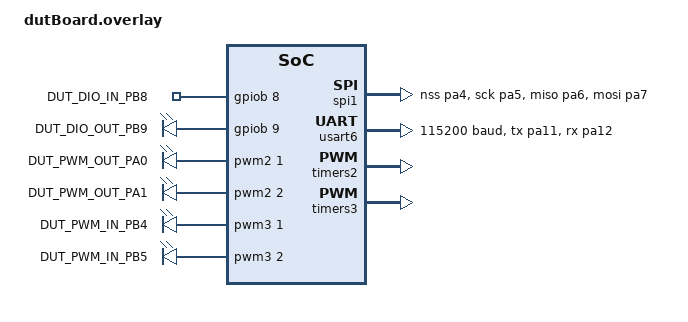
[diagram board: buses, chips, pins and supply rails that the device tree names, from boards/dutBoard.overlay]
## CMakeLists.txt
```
cmake_minimum_required(VERSION 3.20.0)

find_package(Zephyr REQUIRED HINTS $ENV{ZEPHYR_BASE})

project(dut_firmware)

target_include_directories(app PRIVATE include)

target_sources(app PRIVATE
    src/main.c
    src/dut_dio.c
    src/dut_spi.c
    src/dut_uart.c
    src/dut_pwm_out.c
    src/dut_pwm_in.c
)
```

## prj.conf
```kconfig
CONFIG_GPIO=y
CONFIG_SPI=y

CONFIG_SERIAL=y
CONFIG_UART_CONSOLE=y
CONFIG_PRINTK=y

CONFIG_PWM=y
CONFIG_PWM_CAPTURE=y
```

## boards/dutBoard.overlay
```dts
#include <zephyr/dt-bindings/gpio/gpio.h>
#include <zephyr/dt-bindings/pwm/pwm.h>

/ {
    aliases {
        dut-dio-in = &dut_dio_in_pin;
        dut-dio-out = &dut_dio_out_pin;
        uart-test = &usart2;
        uart-test = &usart6;
        dut-pwmout1 = &dut_pwm_out_1;
        dut-pwmout2 = &dut_pwm_out_2;
        dut-pwmin1 = &dut_pwm_in_1;
        dut-pwmin2 = &dut_pwm_in_2;
    };

    dut_dio_inputs {
        compatible = "gpio-keys";

        dut_dio_in_pin: dut_dio_in_pin {
            gpios = <&gpiob 8 (GPIO_ACTIVE_HIGH | GPIO_PULL_DOWN)>;
            label = "DUT_DIO_IN_PB8";
        };
    };

    dut_dio_outputs {
        compatible = "gpio-leds";

        dut_dio_out_pin: dut_dio_out_pin {
            gpios = <&gpiob 9 GPIO_ACTIVE_HIGH>;
            label = "DUT_DIO_OUT_PB9";
        };
    };

    dut_pwm_outputs {
        compatible = "pwm-leds";

        dut_pwm_out_1: dut_pwm_out_1 {
            pwms = <&pwm2 1 0 PWM_POLARITY_NORMAL>;
            label = "DUT_PWM_OUT_PA0";
        };

        dut_pwm_out_2: dut_pwm_out_2 {
            pwms = <&pwm2 2 0 PWM_POLARITY_NORMAL>;
            label = "DUT_PWM_OUT_PA1";
        };
    };

    dut_pwm_inputs {
        compatible = "pwm-leds";

        dut_pwm_in_1: dut_pwm_in_1 {
            pwms = <&pwm3 1 0 PWM_POLARITY_NORMAL>;
            label = "DUT_PWM_IN_PB4";
        };

        dut_pwm_in_2: dut_pwm_in_2 {
            pwms = <&pwm3 2 0 PWM_POLARITY_NORMAL>;
            label = "DUT_PWM_IN_PB5";
        };
    };
};

&spi1 {
    status = "okay";
    pinctrl-0 = <&spi1_nss_pa4 &spi1_sck_pa5 &spi1_miso_pa6 &spi1_mosi_pa7>;
    pinctrl-names = "default";
};

&usart6 {
    status = "okay";
    current-speed = <115200>;
    pinctrl-0 = <&usart6_tx_pa11 &usart6_rx_pa12>;
    pinctrl-names = "default";
};


&timers2 {
    status = "okay";

    pwm2: pwm {
        status = "okay";
        pinctrl-0 = <&tim2_ch1_pa0 &tim2_ch2_pa1>;
        pinctrl-names = "default";
    };
};

&timers3 {
    status = "okay";
    st,prescaler = <83>; /* Divide 84MHz by 84 to get 1MHz timer clock */

    pwm3: pwm {
        status = "okay";
        pinctrl-0 = <&tim3_ch1_pb4 &tim3_ch2_pb5>;
        pinctrl-names = "default";
    };
};
```

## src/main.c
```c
#include <zephyr/kernel.h>              /* Include Zephyr kernel APIs */
#include <zephyr/sys/printk.h>          /* Include printk for debug messages */

#include "dut_dio.h"                    /* Include DUT DIO module interface */
#include "dut_spi.h"                    /* Include DUT SPI module interface */
#include "dut_uart.h"                   /* Include DUT UART module interface */
#include "dut_pwm_out.h"                /* Include DUT PWM output interface */
#include "dut_pwm_in.h"                 /* Include DUT PWM input interface */


/**
 * @brief Main entry point for DUT firmware.
 *
 * This firmware runs on Board 2 / DUT.
 *
 * It acts as:
 * - DIO mirror responder
 * - SPI slave responder
 * - UART echo responder
 *
 * @return 0 on success, negative error code on failure.
 */
int main(void)
{
    int ret;                                             /* Store return status */

    printk("DUT Firmware Started\n");                    /* Print firmware startup message */

    ret = dut_dio_Init();                                /* Initialize DUT DIO mirror */

    if (ret < 0) {                                       /* Check if DUT DIO initialization failed */
        printk("DUT DIO initialization failed: %d\n", ret);
        return ret;                                      /* Stop application with error */
    }

    printk("DUT DIO initialized\n");                     /* Print DIO success message */

    ret = dut_spi_Init();                                /* Initialize DUT SPI slave */

    if (ret < 0) {                                       /* Check if DUT SPI initialization failed */
        printk("DUT SPI initialization failed: %d\n", ret);
        return ret;                                      /* Stop application with error */
    }

    printk("DUT SPI initialized\n");                     /* Print SPI success message */

    ret = dut_uart_Init();                               /* Initialize DUT UART echo */

    if (ret < 0) {                                       /* Check if DUT UART initialization failed */
        printk("DUT UART initialization failed: %d\n", ret);
        return ret;                                      /* Stop application with error */
    }

    printk("DUT UART initialized\n");                    /* Print UART success message */

    ret = dut_pwm_out_Init();

    if (ret < 0) {
        printk("DUT PWM OUT initialization failed: %d\n", ret);
        return ret;
    }

    printk("DUT PWM OUT initialized\n");

    ret = dut_pwm_in_Init();

    if (ret < 0) {
        printk("DUT PWM IN initialization failed: %d\n", ret);
        return ret;
    }

    printk("DUT PWM IN initialized\n");

    while (1) {                                          /* Run forever */
        dut_dio_Process();                               /* Mirror DIO input to output */
        k_sleep(K_MSEC(1));                              /* Small delay to reduce CPU usage */
    }

    return 0;                                            /* This line should never be reached */
}
```

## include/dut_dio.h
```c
#ifndef DUT_DIO_H
#define DUT_DIO_H

/**
 * @brief Initialize DUT DIO mirror pins.
 *
 * This configures:
 * - PB8 as input
 * - PB9 as output
 *
 * @return 0 on success, negative error code on failure.
 */
int dut_dio_Init(void);

/**
 * @brief Process one DIO mirror cycle.
 *
 * This reads PB8 and writes the same value to PB9.
 */
void dut_dio_Process(void);

#endif
```

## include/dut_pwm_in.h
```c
#ifndef DUT_PWM_IN_H
#define DUT_PWM_IN_H

/**
 * @brief Initialize DUT PWM input capture module.
 *
 * DUT PWM inputs:
 * - PB4 = PWM input channel 1
 * - PB5 = PWM input channel 2
 *
 * @return 0 on success, negative error code on failure.
 */
int dut_pwm_in_Init(void);

#endif
```

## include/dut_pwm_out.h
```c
#ifndef DUT_PWM_OUT_H
#define DUT_PWM_OUT_H

/**
 * @brief Initialize DUT PWM output generator.
 *
 * DUT PWM outputs:
 * - PA0 = PWM output channel 1
 * - PA1 = PWM output channel 2
 *
 * @return 0 on success, negative error code on failure.
 */
int dut_pwm_out_Init(void);

#endif
```

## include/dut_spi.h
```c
#ifndef DUT_SPI_H
#define DUT_SPI_H

/**
 * @brief Initialize DUT SPI slave responder.
 *
 * This configures SPI1 as a slave responder.
 *
 * @return 0 on success, negative error code on failure.
 */
int dut_spi_Init(void);

#endif
```

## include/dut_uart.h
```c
#ifndef DUT_UART_H
#define DUT_UART_H

/**
 * @brief Initialize DUT UART echo module.
 *
 * This module uses USART6 as UART echo responder.
 *
 * Hardware pins:
 * - PA11 = USART6_TX
 * - PA12 = USART6_RX
 *
 * @return 0 on success, negative error code on failure.
 */
int dut_uart_Init(void);

#endif
```

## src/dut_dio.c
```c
#include <zephyr/kernel.h>              /* Include Zephyr kernel APIs */
#include <zephyr/device.h>              /* Include Zephyr device model APIs */
#include <zephyr/drivers/gpio.h>        /* Include Zephyr GPIO driver APIs */
#include <errno.h>                      /* Include standard error codes */

#include "dut_dio.h"                    /* Include DUT DIO module interface */


/* Get DUT DIO input alias from devicetree */
#define DUT_DIO_IN_NODE  DT_ALIAS(dut_dio_in)

/* Get DUT DIO output alias from devicetree */
#define DUT_DIO_OUT_NODE DT_ALIAS(dut_dio_out)


/* Create GPIO specification for PB8 input */
static const struct gpio_dt_spec dut_dio_in = GPIO_DT_SPEC_GET(DUT_DIO_IN_NODE, gpios);

/* Create GPIO specification for PB9 output */
static const struct gpio_dt_spec dut_dio_out = GPIO_DT_SPEC_GET(DUT_DIO_OUT_NODE, gpios);


/**
 * @brief Initialize DUT DIO mirror pins.
 *
 * Hardware connection:
 * - Board 1 PB8 -> Board 2 PB8
 * - Board 2 PB9 -> Board 1 PB9
 *
 * @return 0 on success, negative error code on failure.
 */
int dut_dio_Init(void)
{
    if (!gpio_is_ready_dt(&dut_dio_in)) {                         /* Check if input GPIO port is ready */
        return -ENODEV;                                           /* Return error if input GPIO port is not ready */
    }

    if (!gpio_is_ready_dt(&dut_dio_out)) {                        /* Check if output GPIO port is ready */
        return -ENODEV;                                           /* Return error if output GPIO port is not ready */
    }

    int ret = gpio_pin_configure_dt(&dut_dio_in, GPIO_INPUT);     /* Configure PB8 as input */

    if (ret < 0) {                                                /* Check if input configuration failed */
        return ret;                                               /* Return GPIO driver error */
    }

    ret = gpio_pin_configure_dt(&dut_dio_out, GPIO_OUTPUT_INACTIVE); /* Configure PB9 as output and start LOW */

    if (ret < 0) {                                                /* Check if output configuration failed */
        return ret;                                               /* Return GPIO driver error */
    }

    return 0;                                                     /* Return success */
}


/**
 * @brief Process one DIO mirror cycle.
 *
 * This function reads PB8 and writes the same value to PB9.
 */
void dut_dio_Process(void)
{
    int value = gpio_pin_get_dt(&dut_dio_in);                     /* Read PB8 input value */

    if (value < 0) {                                              /* Check if GPIO read failed */
        return;                                                   /* Ignore this cycle if read failed */
    }

    gpio_pin_set_dt(&dut_dio_out, value);                         /* Mirror PB8 value to PB9 */
}
```

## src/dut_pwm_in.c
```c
#include <zephyr/kernel.h>              /* Include Zephyr kernel APIs */
#include <zephyr/device.h>              /* Include Zephyr device APIs */
#include <zephyr/drivers/pwm.h>         /* Include Zephyr PWM APIs */
#include <zephyr/sys/printk.h>          /* Include printk for debug messages */

#include <errno.h>                      /* Include standard error codes */
#include <stdbool.h>                    /* Include bool type */
#include <stdint.h>                     /* Include integer types */

#include "dut_pwm_in.h"                 /* Include DUT PWM input interface */

/*

* DUT PWM input expected signals:
*
* CH1 expected signal:
* * Frequency: around 1000 Hz
* * Duty cycle: around 50%
*
* CH2 expected signal:
* * Frequency: around 1000 Hz
* * Duty cycle: around 25%
*
* These limits are used to ignore floating/noise readings.
  */
  #define DUT_PWM_MIN_FREQ_HZ        900U
  #define DUT_PWM_MAX_FREQ_HZ        1100U

#define DUT_PWM_CH1_MIN_DUTY_X100  4500U   /* 45.00% */
#define DUT_PWM_CH1_MAX_DUTY_X100  5500U   /* 55.00% */

#define DUT_PWM_CH2_MIN_DUTY_X100  2000U   /* 20.00% */
#define DUT_PWM_CH2_MAX_DUTY_X100  3000U   /* 30.00% */

/*

* Avoid printing the same valid value again and again.
*
* Frequency tolerance:
* * If the new frequency is very close to the last printed frequency,
* it is considered the same reading.
*
* Duty tolerance:
* * Duty is stored as duty * 100.
* * 20 means 0.20%.
    */
    #define DUT_PWM_FREQ_PRINT_DELTA_HZ    2U
    #define DUT_PWM_DUTY_PRINT_DELTA_X100  20U

/* Get DUT PWM input channel 1 from devicetree alias */
static const struct pwm_dt_spec dut_pwm_in_ch1 =
PWM_DT_SPEC_GET(DT_ALIAS(dut_pwmin1));

/* Get DUT PWM input channel 2 from devicetree alias */
static const struct pwm_dt_spec dut_pwm_in_ch2 =
PWM_DT_SPEC_GET(DT_ALIAS(dut_pwmin2));

/* Store the last printed frequency for each channel */
static uint32_t last_freq_hz[3] = {0U, 0U, 0U};

/* Store the last printed duty cycle for each channel */
static uint32_t last_duty_x100[3] = {0U, 0U, 0U};

/* Store whether each channel printed a valid value before */
static bool channel_printed_before[3] = {false, false, false};

/**

* @brief Calculate absolute difference between two unsigned values.
*
* @param a First value.
* @param b Second value.
*
* @return Absolute difference.
  */
  static uint32_t abs_diff_u32(uint32_t a, uint32_t b)
  {
  if (a > b) {                         /* Check if first value is larger */
  return a - b;                    /* Return positive difference */
  }

  return b - a;                        /* Return positive difference */
  }

/**

* @brief Check if captured PWM value is valid for a specific channel.
*
* @param channel_number Logical PWM input channel number.
* @param frequency_hz Captured frequency in Hz.
* @param duty_x100 Captured duty cycle multiplied by 100.
*
* @return true if the value is valid, false otherwise.
  */
  static bool dut_pwm_in_is_valid_reading(
  uint8_t channel_number,
  uint32_t frequency_hz,
  uint32_t duty_x100
  )
  {
  if (frequency_hz < DUT_PWM_MIN_FREQ_HZ) {             /* Reject low frequency noise */
  return false;
  }

  if (frequency_hz > DUT_PWM_MAX_FREQ_HZ) {             /* Reject high frequency noise */
  return false;
  }

  if (channel_number == 1U) {                           /* Validate channel 1 duty cycle */
  if (duty_x100 < DUT_PWM_CH1_MIN_DUTY_X100) {
  return false;
  }

   if (duty_x100 > DUT_PWM_CH1_MAX_DUTY_X100) {
       return false;
   }

   return true;

  }

  if (channel_number == 2U) {                           /* Validate channel 2 duty cycle */
  if (duty_x100 < DUT_PWM_CH2_MIN_DUTY_X100) {
  return false;
  }

   if (duty_x100 > DUT_PWM_CH2_MAX_DUTY_X100) {
       return false;
   }

   return true;

  }

  return false;                                         /* Reject invalid channel number */
  }

/**

* @brief Check if the reading is almost the same as the last printed reading.
*
* @param channel_number Logical PWM input channel number.
* @param frequency_hz Captured frequency in Hz.
* @param duty_x100 Captured duty cycle multiplied by 100.
*
* @return true if the reading is repeated, false otherwise.
  */
  static bool dut_pwm_in_is_repeated_reading(
  uint8_t channel_number,
  uint32_t frequency_hz,
  uint32_t duty_x100
  )
  {
  uint32_t freq_diff;                                    /* Store frequency difference */
  uint32_t duty_diff;                                    /* Store duty cycle difference */

  if (!channel_printed_before[channel_number]) {         /* First valid reading should be printed */
  return false;
  }

  freq_diff = abs_diff_u32(last_freq_hz[channel_number], frequency_hz);
  duty_diff = abs_diff_u32(last_duty_x100[channel_number], duty_x100);

  if ((freq_diff <= DUT_PWM_FREQ_PRINT_DELTA_HZ) &&
  (duty_diff <= DUT_PWM_DUTY_PRINT_DELTA_X100)) {
  return true;                                      /* Reading is close enough to the last one */
  }

  return false;                                         /* Reading changed enough to print */
  }

/**

* @brief Capture and print one PWM input channel.
*
* This function ignores invalid/noise readings.
*
* @param pwm_spec PWM device specification.
* @param channel_number Logical channel number.
  */
  static void dut_pwm_in_capture_and_print(
  const struct pwm_dt_spec *pwm_spec,
  uint8_t channel_number
  )
  {
  uint64_t period_us = 0U;                              /* Store captured period in microseconds */
  uint64_t pulse_us = 0U;                               /* Store captured pulse width in microseconds */
  uint32_t frequency_hz = 0U;                           /* Store calculated frequency */
  uint32_t duty_x100 = 0U;                              /* Store duty cycle multiplied by 100 */
  int ret;                                             /* Store return value */

  ret = pwm_capture_usec(
  pwm_spec->dev,                                   /* PWM device */
  pwm_spec->channel,                               /* PWM channel */
  PWM_CAPTURE_TYPE_BOTH | PWM_CAPTURE_MODE_SINGLE, /* Capture period and pulse once */
  &period_us,                                      /* Output period */
  &pulse_us,                                       /* Output pulse width */
  K_MSEC(500)                                      /* Capture timeout */
  );

  if (ret == -EBUSY) {                                 /* Check if PWM capture channel is busy */
  pwm_disable_capture(pwm_spec->dev, pwm_spec->channel);
  return;                                          /* Keep silent */
  }

  if (ret < 0) {                                       /* No valid PWM signal */
  return;                                          /* Keep silent */
  }

  pwm_disable_capture(pwm_spec->dev, pwm_spec->channel); /* Disable capture after one reading */

  if (period_us == 0U) {                               /* Protect against division by zero */
  return;                                          /* Keep silent */
  }

  frequency_hz = (uint32_t)(1000000ULL / period_us);    /* Convert period in us to Hz */

  duty_x100 = (uint32_t)((pulse_us * 10000ULL) / period_us); /* Calculate duty * 100 */

  if (!dut_pwm_in_is_valid_reading(channel_number, frequency_hz, duty_x100)) {
  return;                                          /* Ignore noise or unexpected signal */
  }

  if (dut_pwm_in_is_repeated_reading(channel_number, frequency_hz, duty_x100)) {
  return;                                          /* Avoid printing repeated stable values */
  }

  last_freq_hz[channel_number] = frequency_hz;          /* Save last printed frequency */
  last_duty_x100[channel_number] = duty_x100;           /* Save last printed duty */
  channel_printed_before[channel_number] = true;        /* Mark channel as printed before */

  printk(
  "DUT_PWM_IN CH%d Freq: %u Hz, Duty: %u.%02u\n",
  channel_number,
  frequency_hz,
  duty_x100 / 100U,
  duty_x100 % 100U
  );
  }

/**

* @brief DUT PWM input monitor thread.
*
* This thread measures PWM input channels periodically.
* It prints only valid and useful readings.
  */
  static void dut_pwm_in_thread(void *arg1, void *arg2, void *arg3)
  {
  ARG_UNUSED(arg1);                                     /* Mark arg1 as unused */
  ARG_UNUSED(arg2);                                     /* Mark arg2 as unused */
  ARG_UNUSED(arg3);                                     /* Mark arg3 as unused */

  printk("DUT PWM IN monitor thread started\n");        /* Print thread start message */

  while (1) {                                           /* Run forever */
  dut_pwm_in_capture_and_print(&dut_pwm_in_ch1, 1U); /* Capture PWM input channel 1 */
  dut_pwm_in_capture_and_print(&dut_pwm_in_ch2, 2U); /* Capture PWM input channel 2 */

   k_sleep(K_SECONDS(1));                            /* Wait before next measurement */

  }
  }

/* Define DUT PWM input monitor thread */
K_THREAD_DEFINE(
dut_pwm_in_thread_id,                                 /* Thread ID */
1024,                                                 /* Stack size */
dut_pwm_in_thread,                                    /* Thread function */
NULL,                                                 /* First argument */
NULL,                                                 /* Second argument */
NULL,                                                 /* Third argument */
7,                                                    /* Thread priority */
0,                                                    /* Thread options */
0                                                     /* Start immediately */
);

/**

* @brief Initialize DUT PWM input capture module.
*
* @return 0 on success, negative error code on failure.
  */
  int dut_pwm_in_Init(void)
  {
  if (!pwm_is_ready_dt(&dut_pwm_in_ch1)) {              /* Check if PWM input channel 1 is ready */
  printk("DUT PWM IN CH1 device not ready\n");
  return -ENODEV;
  }

  if (!pwm_is_ready_dt(&dut_pwm_in_ch2)) {              /* Check if PWM input channel 2 is ready */
  printk("DUT PWM IN CH2 device not ready\n");
  return -ENODEV;
  }

  printk("DUT PWM IN initialized\n");                   /* Print initialization message */

  return 0;                                             /* Return success */
  }
```

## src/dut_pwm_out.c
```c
#include <zephyr/kernel.h>              /* Include Zephyr kernel APIs */
#include <zephyr/device.h>              /* Include Zephyr device APIs */
#include <zephyr/drivers/pwm.h>         /* Include Zephyr PWM driver APIs */
#include <zephyr/sys/printk.h>          /* Include printk for debug messages */
#include <errno.h>                      /* Include standard error codes */

#include "dut_pwm_out.h"                /* Include DUT PWM output interface */


/* Get PWM output channel 1 from devicetree alias */
static const struct pwm_dt_spec dut_pwm_ch1 = PWM_DT_SPEC_GET(DT_ALIAS(dut_pwmout1));

/* Get PWM output channel 2 from devicetree alias */
static const struct pwm_dt_spec dut_pwm_ch2 = PWM_DT_SPEC_GET(DT_ALIAS(dut_pwmout2));


/**
 * @brief Initialize DUT PWM output generator.
 *
 * Channel 1:
 * - Frequency = 1000 Hz
 * - Duty cycle = 50%
 *
 * Channel 2:
 * - Frequency = 1000 Hz
 * - Duty cycle = 25%
 *
 * @return 0 on success, negative error code on failure.
 */
int dut_pwm_out_Init(void)
{
    int ret;                                             /* Store return value */

    const uint32_t period_ns = 1000000U;                 /* 1 kHz period = 1 ms = 1,000,000 ns */

    const uint32_t ch1_pulse_ns = 500000U;               /* 50% duty cycle */
    const uint32_t ch2_pulse_ns = 250000U;               /* 25% duty cycle */

    if (!pwm_is_ready_dt(&dut_pwm_ch1)) {                /* Check if PWM channel 1 is ready */
        printk("DUT PWM CH1 device not ready\n");        /* Print error message */
        return -ENODEV;                                  /* Return device error */
    }

    if (!pwm_is_ready_dt(&dut_pwm_ch2)) {                /* Check if PWM channel 2 is ready */
        printk("DUT PWM CH2 device not ready\n");        /* Print error message */
        return -ENODEV;                                  /* Return device error */
    }

    ret = pwm_set_dt(&dut_pwm_ch1, period_ns, ch1_pulse_ns); /* Start PWM channel 1 */

    if (ret < 0) {                                       /* Check if channel 1 failed */
        printk("DUT PWM CH1 start failed: %d\n", ret);   /* Print error */
        return ret;                                      /* Return error */
    }

    ret = pwm_set_dt(&dut_pwm_ch2, period_ns, ch2_pulse_ns); /* Start PWM channel 2 */

    if (ret < 0) {                                       /* Check if channel 2 failed */
        printk("DUT PWM CH2 start failed: %d\n", ret);   /* Print error */
        return ret;                                      /* Return error */
    }

    printk("DUT PWM OUT started: CH1 1000Hz 50%%, CH2 1000Hz 25%%\n");

    return 0;                                            /* Return success */
}
```

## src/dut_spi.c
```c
#include <zephyr/kernel.h>              /* Include Zephyr kernel APIs */
#include <zephyr/device.h>              /* Include Zephyr device model APIs */
#include <zephyr/drivers/spi.h>         /* Include Zephyr SPI driver APIs */
#include <zephyr/sys/printk.h>          /* Include printk for debug messages */
#include <errno.h>                      /* Include standard error codes */

#include "dut_spi.h"                    /* Include DUT SPI module interface */


/* Get SPI1 node from devicetree */
#define SPI_NODE DT_NODELABEL(spi1)

/* Define the response byte that DUT sends to the master */
#define DUT_SPI_RESPONSE_BYTE 0x5A

/* Define SPI slave thread stack size */
#define DUT_SPI_THREAD_STACK_SIZE 1024

/* Define SPI slave thread priority */
#define DUT_SPI_THREAD_PRIORITY 7


/* Get SPI1 device from devicetree */
static const struct device *spi_dev = DEVICE_DT_GET(SPI_NODE);

/* Store SPI initialization state */
static bool spi_initialized = false;


/* Configure SPI1 as slave */
static struct spi_config spi_cfg = {
    .frequency = 1000000U,                              /* SPI clock is generated by master */
    .operation = SPI_OP_MODE_SLAVE |                    /* Configure SPI as slave */
                 SPI_TRANSFER_MSB |                     /* Transfer most significant bit first */
                 SPI_WORD_SET(8) |                      /* Use 8-bit word size */
                 SPI_LINES_SINGLE,                      /* Use standard MOSI/MISO lines */
    .slave = 0                                          /* Slave index */
};


/**
 * @brief SPI slave responder thread.
 *
 * This thread waits for SPI transfers from the master.
 * For every transfer, it sends 0x5A and receives one byte.
 */
static void dut_spi_thread(void *arg1, void *arg2, void *arg3)
{
    ARG_UNUSED(arg1);                                    /* Mark arg1 as unused */
    ARG_UNUSED(arg2);                                    /* Mark arg2 as unused */
    ARG_UNUSED(arg3);                                    /* Mark arg3 as unused */

    while (!spi_initialized) {                           /* Wait until SPI initialization is done */
        k_sleep(K_MSEC(10));                             /* Sleep before checking again */
    }

    printk("DUT SPI slave thread started\n");            /* Print SPI thread start message */

    while (1) {                                          /* Run forever */
        uint8_t tx_data = DUT_SPI_RESPONSE_BYTE;         /* Prepare fixed response byte */
        uint8_t rx_data = 0x00;                          /* Store received byte from master */

        const struct spi_buf tx_buf = {                  /* Create TX buffer */
            .buf = &tx_data,                             /* Point to response byte */
            .len = sizeof(tx_data)                       /* Send one byte */
        };

        struct spi_buf rx_buf = {                        /* Create RX buffer */
            .buf = &rx_data,                             /* Store received byte here */
            .len = sizeof(rx_data)                       /* Receive one byte */
        };

        const struct spi_buf_set tx_set = {              /* Create TX buffer set */
            .buffers = &tx_buf,                          /* Point to TX buffer */
            .count = 1                                   /* Use one TX buffer */
        };

        const struct spi_buf_set rx_set = {              /* Create RX buffer set */
            .buffers = &rx_buf,                          /* Point to RX buffer */
            .count = 1                                   /* Use one RX buffer */
        };

        int ret = spi_transceive(spi_dev, &spi_cfg, &tx_set, &rx_set); /* Wait for master transfer */

        if (ret == -ETIMEDOUT) {                         /* No SPI transfer received yet */
            k_yield();                                   /* Give CPU time to other threads */
            continue;                                    /* Re-arm SPI slave quickly */
        }

        if (ret < 0) {                                   /* Check if real SPI transfer error happened */
            printk("DUT SPI transfer error: %d\n", ret); /* Print SPI error */
            k_sleep(K_MSEC(10));                         /* Small delay before retrying */
            continue;                                    /* Retry next cycle */
        }

        printk("DUT SPI RX 0x%02X TX 0x%02X\n", rx_data, tx_data); /* Print transfer result */
    }
}


/* Define and start SPI slave responder thread */
K_THREAD_DEFINE(
    dut_spi_thread_id,                                   /* Thread ID */
    DUT_SPI_THREAD_STACK_SIZE,                           /* Stack size */
    dut_spi_thread,                                      /* Thread entry function */
    NULL,                                                /* First argument */
    NULL,                                                /* Second argument */
    NULL,                                                /* Third argument */
    DUT_SPI_THREAD_PRIORITY,                             /* Thread priority */
    0,                                                   /* Thread options */
    0                                                    /* Start immediately */
);


/**
 * @brief Initialize DUT SPI slave responder.
 *
 * @return 0 on success, negative error code on failure.
 */
int dut_spi_Init(void)
{
    if (!device_is_ready(spi_dev)) {                     /* Check if SPI1 device is ready */
        return -ENODEV;                                  /* Return error if SPI1 is not ready */
    }

    spi_initialized = true;                              /* Allow SPI thread to start responding */

    return 0;                                            /* Return success */
}
```

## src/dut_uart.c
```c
#include <zephyr/kernel.h>              /* Include Zephyr kernel APIs */
#include <zephyr/device.h>              /* Include Zephyr device model APIs */
#include <zephyr/drivers/uart.h>        /* Include Zephyr UART driver APIs */
#include <zephyr/sys/printk.h>          /* Include printk for debug messages */
#include <errno.h>                      /* Include standard error codes */
#include <stdbool.h>                    /* Include bool type */

#include "dut_uart.h"                   /* Include DUT UART module interface */


/* Get UART test node from devicetree alias */
#define DUT_UART_NODE DT_ALIAS(uart_test)

/* Define UART echo thread stack size */
#define DUT_UART_THREAD_STACK_SIZE 1024

/* Define UART echo thread priority */
#define DUT_UART_THREAD_PRIORITY 7


/* Get UART device from devicetree */
static const struct device *uart_dev = DEVICE_DT_GET(DUT_UART_NODE);

/* Store UART initialization state */
static volatile bool uart_initialized = false;


/**
 * @brief UART echo thread.
 *
 * This thread reads all available bytes from USART6
 * and immediately sends them back.
 */
static void dut_uart_thread(void *arg1, void *arg2, void *arg3)
{
    ARG_UNUSED(arg1);                                     /* Mark arg1 as unused */
    ARG_UNUSED(arg2);                                     /* Mark arg2 as unused */
    ARG_UNUSED(arg3);                                     /* Mark arg3 as unused */

    while (!uart_initialized) {                           /* Wait until UART initialization is done */
        k_yield();                                        /* Yield CPU without long sleep */
    }

    printk("DUT UART echo thread started\n");             /* Print UART thread start message */

    while (1) {                                           /* Run forever */
        unsigned char rx_char;                            /* Store received character */

        while (uart_poll_in(uart_dev, &rx_char) == 0) {   /* Drain all received bytes */
            uart_poll_out(uart_dev, rx_char);             /* Echo each byte back immediately */
        }

        k_yield();                                        /* Yield CPU without losing UART bursts */
    }
}


/* Define and start UART echo thread */
K_THREAD_DEFINE(
    dut_uart_thread_id,                                   /* Thread ID */
    DUT_UART_THREAD_STACK_SIZE,                           /* Stack size */
    dut_uart_thread,                                      /* Thread entry function */
    NULL,                                                 /* First argument */
    NULL,                                                 /* Second argument */
    NULL,                                                 /* Third argument */
    DUT_UART_THREAD_PRIORITY,                             /* Thread priority */
    0,                                                    /* Thread options */
    0                                                     /* Start immediately */
);


/**
 * @brief Initialize DUT UART echo module.
 *
 * @return 0 on success, negative error code on failure.
 */
int dut_uart_Init(void)
{
    if (!device_is_ready(uart_dev)) {                     /* Check if UART device is ready */
        return -ENODEV;                                   /* Return error if UART is not ready */
    }

    uart_initialized = true;                              /* Allow UART echo thread to run */

    return 0;                                             /* Return success */
}
```
